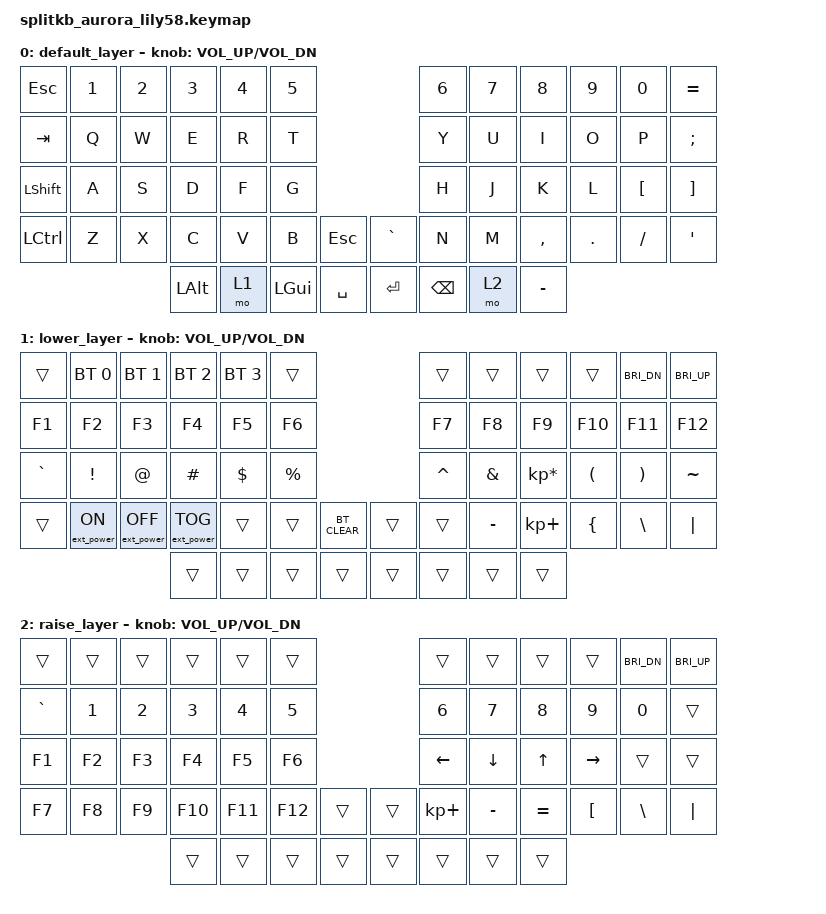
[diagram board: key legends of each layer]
/*
 * Copyright (c) 2020 The ZMK Contributors
 *
 * SPDX-License-Identifier: MIT
 */

#include <behaviors.dtsi>
#include <dt-bindings/zmk/keys.h>
#include <dt-bindings/zmk/bt.h>
#include <dt-bindings/zmk/ext_power.h>

/ {
    keymap {
        compatible = "zmk,keymap";

        default_layer {
// ------------------------------------------------------------------------------------------------------------
// |       |  1  |  2  |  3   |  4   |  5   |                   |  6   |  7    |  8    |  9   |   0   |   =   |
// |  TAB  |  Q  |  W  |  E   |  R   |  T   |                   |  Y   |  U    |  I    |  O   |   P   |   ;   |
// | SHIFT |  A  |  S  |  D   |  F   |  G   |                   |  H   |  J    |  K    |  L   |   [   |   ]   |
// | LCTRL |  Z  |  X  |  C   |  V   |  B   |  ESC   |  |  `   |  N   |  M    |  ,    |  .   |   /   |   ""  |
//                     | ALT  | GUI  | LOWER|  SPACE |  | ENTER | RAISE| BSPC  |   -   |
            bindings = <
&kp ESC   &kp N1 &kp N2 &kp N3   &kp N4   &kp N5                     &kp N6 &kp N7   &kp N8    &kp N9  &kp N0   &kp EQUAL
&kp TAB   &kp Q  &kp W  &kp E    &kp R    &kp T                      &kp Y  &kp U    &kp I     &kp O   &kp P    &kp SEMI
&kp LSHFT &kp A  &kp S  &kp D    &kp F    &kp G                      &kp H  &kp J    &kp K     &kp L   &kp LBKT &kp RBKT
&kp LCTRL &kp Z  &kp X  &kp C    &kp V    &kp B  &kp ESC    &kp GRAVE &kp N  &kp M    &kp COMMA &kp DOT &kp FSLH &kp SQT
                        &kp LALT &mo 1 &kp LGUI  &kp SPACE  &kp RET  &kp BSPC &mo 2  &kp MINUS
            >;

            sensor-bindings = <&inc_dec_kp C_VOL_UP C_VOL_DN>;
        };

        lower_layer {
// ------------------------------------------------------------------------------------------------------------[]
//         | BT1 | BT2 |  BT3 |  BT4 |      |            |      |       |       |      |C_BRI_DN|C_BRI_UP|
// |  F1   |  F2 |  F3 |  F4  |  F5  |  F6  |                   |  F7  |  F8   |  F9   |  F10 |  F11   |   F12  |
// |   `   |  !  |  @  |  #   |  $   |  %   |                   |  ^   |  &    |  *    |  (   |   )    |    ~   |
// |       |     |     |      |      |      | BTCLR  |  |       |      |  _    |  +    |  {   |   }    |   "|"  |
//                     |      |      |      |        |  |       |      |       |       |
            bindings = <
&trans     &bt BT_SEL 0     &bt BT_SEL 1      &bt BT_SEL 2      &bt BT_SEL 3 &trans                            &trans    &trans    &trans          &trans    &kp C_BRI_DN &kp C_BRI_UP
&kp F1     &kp F2           &kp F3            &kp F4            &kp F5       &kp F6                            &kp F7    &kp F8    &kp F9          &kp F10   &kp F11      &kp F12
&kp GRAVE  &kp EXCL         &kp AT            &kp HASH          &kp DOLLAR   &kp PRCNT                         &kp CARET &kp AMPS  &kp KP_MULTIPLY &kp LPAR  &kp RPAR     &kp TILDE
&trans     &ext_power EP_ON &ext_power EP_OFF &ext_power EP_TOG &trans       &trans    &bt BT_CLEAR   &trans    &trans    &kp MINUS &kp KP_PLUS     &kp LBRC  &kp BSLH     &kp PIPE
                                              &trans            &trans       &trans    &trans         &trans    &trans    &trans    &trans
            >;

            sensor-bindings = <&inc_dec_kp C_VOL_UP C_VOL_DN>;
        };

        raise_layer {
// ------------------------------------------------------------------------------------------------------------
// |       |     |     |      |      |      |                   |      |       |       |      |C_BRI_DN|C_BRI_UP|
// |   `   |  1  |  2  |  3   |  4   |  5   |                   |  6   |   7   |   8   |  9   |   0   |         |
// |   F1  |  F2 |  F3 |  F4  |  F5  |  F6  |                   |  <-  |   v   |  ^    |  ->  |       |         |
// |   F7  |  F8 |  F9 |  F10 |  F11 |  F12 |        |  |       |  +   |   -   |   =   |  [   |   \   |   "|"   |
//                     |      |      |      |        |  |       |      |       |       |
            bindings = <
&trans    &trans &trans &trans  &trans  &trans                       &trans      &trans    &trans    &trans    &kp C_BRI_DN &kp C_BRI_UP
&kp GRAVE &kp N1 &kp N2 &kp N3  &kp N4  &kp N5                       &kp N6      &kp N7    &kp N8    &kp N9    &kp N0       &trans
&kp F1    &kp F2 &kp F3 &kp F4  &kp F5  &kp F6                       &kp LEFT    &kp DOWN  &kp UP    &kp RIGHT &trans       &trans
&kp F7    &kp F8 &kp F9 &kp F10 &kp F11 &kp F12   &trans   &trans    &kp KP_PLUS &kp MINUS &kp EQUAL &kp LBKT  &kp BSLH     &kp PIPE
                        &trans  &trans  &trans    &trans   &trans    &trans      &trans    &trans
            >;

            sensor-bindings = <&inc_dec_kp C_VOL_UP C_VOL_DN>;
        };
    };
};
